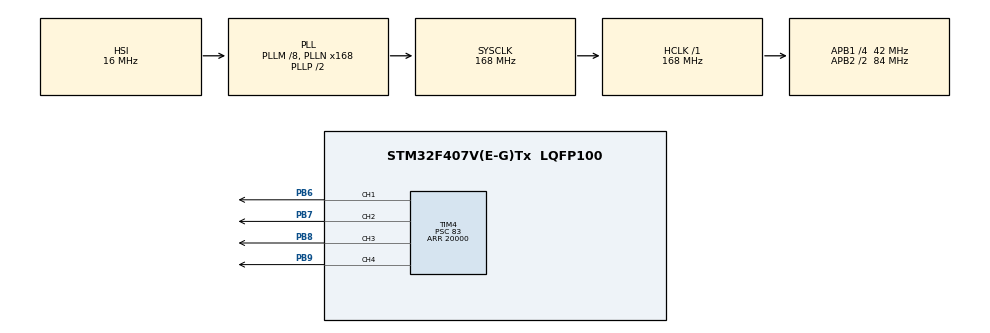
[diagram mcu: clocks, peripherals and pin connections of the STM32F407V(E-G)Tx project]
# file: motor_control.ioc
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Mcu.Family=STM32F4
Mcu.Name=STM32F407V(E-G)Tx
Mcu.Package=LQFP100
NVIC.PriorityGroup=NVIC_PRIORITYGROUP_0
PB6.Signal=S_TIM4_CH1
PB7.Signal=S_TIM4_CH2
PB8.Signal=S_TIM4_CH3
PB9.Signal=S_TIM4_CH4
ProjectManager.HeapSize=0x200
ProjectManager.StackSize=0x400
ProjectManager.TargetToolchain=STM32CubeIDE
RCC.48MHZClocksFreq_Value=48000000
RCC.AHBFreq_Value=168000000
RCC.APB1CLKDivider=RCC_HCLK_DIV4
RCC.APB1Freq_Value=42000000
RCC.APB1TimFreq_Value=84000000
RCC.APB2CLKDivider=RCC_HCLK_DIV2
RCC.APB2Freq_Value=84000000
RCC.APB2TimFreq_Value=168000000
RCC.CortexFreq_Value=168000000
RCC.HCLKFreq_Value=168000000
RCC.HSE_VALUE=8000000
RCC.HSI_VALUE=16000000
RCC.PLLM=8
RCC.PLLN=168
RCC.PLLQ=7
RCC.SYSCLKFreq_VALUE=168000000
RCC.SYSCLKSource=RCC_SYSCLKSOURCE_PLLCLK
RCC.VCOOutputFreq_Value=336000000
SH.S_TIM4_CH1.0=TIM4_CH1,PWM Generation1 CH1
SH.S_TIM4_CH2.0=TIM4_CH2,PWM Generation2 CH2
SH.S_TIM4_CH3.0=TIM4_CH3,PWM Generation3 CH3
SH.S_TIM4_CH4.0=TIM4_CH4,PWM Generation4 CH4
TIM4.Channel-PWM\ Generation1\ CH1=TIM_CHANNEL_1
TIM4.Channel-PWM\ Generation2\ CH2=TIM_CHANNEL_2
TIM4.Channel-PWM\ Generation3\ CH3=TIM_CHANNEL_3
TIM4.Channel-PWM\ Generation4\ CH4=TIM_CHANNEL_4
TIM4.Period=20000
TIM4.Prescaler=83
board=STM32F407G-DISC1

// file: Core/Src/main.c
/* USER CODE END Header */
#include "main.h"

TIM_HandleTypeDef htim4;

void SystemClock_Config(void);
static void MX_GPIO_Init(void);
static void MX_TIM4_Init(void);

int main(void)
{

  /* MCU Configuration--------------------------------------------------------*/

  /* Reset of all peripherals, Initializes the Flash interface and the Systick. */
  HAL_Init();

  /* Configure the system clock */
  SystemClock_Config();

  /* Initialize all configured peripherals */
  MX_GPIO_Init();
  MX_TIM4_Init();
  /* USER CODE BEGIN 2 */

  HAL_TIM_PWM_Start(&htim4, TIM_CHANNEL_1); // PB6
  HAL_TIM_PWM_Start(&htim4, TIM_CHANNEL_2); // PB7
  HAL_TIM_PWM_Start(&htim4, TIM_CHANNEL_3); // PB8
  HAL_TIM_PWM_Start(&htim4, TIM_CHANNEL_4); // PB9

  // ESC kalibrasyon (ilk kullanımda önerilir)
  // __HAL_TIM_SET_COMPARE(&htim4, TIM_CHANNEL_1, 2000);
  //__HAL_TIM_SET_COMPARE(&htim4, TIM_CHANNEL_2, 2000);
  //__HAL_TIM_SET_COMPARE(&htim4, TIM_CHANNEL_3, 2000);
  //__HAL_TIM_SET_COMPARE(&htim4, TIM_CHANNEL_4, 2000);
  //HAL_Delay(2000);

  __HAL_TIM_SET_COMPARE(&htim4, TIM_CHANNEL_1, 1000);
  __HAL_TIM_SET_COMPARE(&htim4, TIM_CHANNEL_2, 1000);
  __HAL_TIM_SET_COMPARE(&htim4, TIM_CHANNEL_3, 1000);
  __HAL_TIM_SET_COMPARE(&htim4, TIM_CHANNEL_4, 1000);
  HAL_Delay(2000);

  // Sabit hızda (1500 us = orta throttle)
  uint16_t throttle = 1500;
  __HAL_TIM_SET_COMPARE(&htim4, TIM_CHANNEL_1, throttle);
  __HAL_TIM_SET_COMPARE(&htim4, TIM_CHANNEL_2, throttle);
  __HAL_TIM_SET_COMPARE(&htim4, TIM_CHANNEL_3, throttle);
  __HAL_TIM_SET_COMPARE(&htim4, TIM_CHANNEL_4, throttle);

  HAL_Delay(2000);

  throttle = 1750;
  __HAL_TIM_SET_COMPARE(&htim4, TIM_CHANNEL_1, throttle);
  __HAL_TIM_SET_COMPARE(&htim4, TIM_CHANNEL_2, throttle);
  __HAL_TIM_SET_COMPARE(&htim4, TIM_CHANNEL_3, throttle);
  __HAL_TIM_SET_COMPARE(&htim4, TIM_CHANNEL_4, throttle);

  HAL_Delay(2000);

  throttle = 2000;
  __HAL_TIM_SET_COMPARE(&htim4, TIM_CHANNEL_1, throttle);
  __HAL_TIM_SET_COMPARE(&htim4, TIM_CHANNEL_2, throttle);
  __HAL_TIM_SET_COMPARE(&htim4, TIM_CHANNEL_3, throttle);
  __HAL_TIM_SET_COMPARE(&htim4, TIM_CHANNEL_4, throttle);

  /* USER CODE END 2 */

  /* Infinite loop */
  while (1)
  {

  }
}

void SystemClock_Config(void)
{
  RCC_OscInitTypeDef RCC_OscInitStruct = {0};
  RCC_ClkInitTypeDef RCC_ClkInitStruct = {0};

  /** Configure the main internal regulator output voltage
  */
  __HAL_RCC_PWR_CLK_ENABLE();
  __HAL_PWR_VOLTAGESCALING_CONFIG(PWR_REGULATOR_VOLTAGE_SCALE1);
  /** Initializes the RCC Oscillators according to the specified parameters
  * in the RCC_OscInitTypeDef structure.
  */
  RCC_OscInitStruct.OscillatorType = RCC_OSCILLATORTYPE_HSI;
  RCC_OscInitStruct.HSIState = RCC_HSI_ON;
  RCC_OscInitStruct.HSICalibrationValue = RCC_HSICALIBRATION_DEFAULT;
  RCC_OscInitStruct.PLL.PLLState = RCC_PLL_ON;
  RCC_OscInitStruct.PLL.PLLSource = RCC_PLLSOURCE_HSI;
  RCC_OscInitStruct.PLL.PLLM = 8;
  RCC_OscInitStruct.PLL.PLLN = 168;
  RCC_OscInitStruct.PLL.PLLP = RCC_PLLP_DIV2;
  RCC_OscInitStruct.PLL.PLLQ = 7;
  if (HAL_RCC_OscConfig(&RCC_OscInitStruct) != HAL_OK)
  {
    Error_Handler();
  }
  /** Initializes the CPU, AHB and APB buses clocks
  */
  RCC_ClkInitStruct.ClockType = RCC_CLOCKTYPE_HCLK|RCC_CLOCKTYPE_SYSCLK
                              |RCC_CLOCKTYPE_PCLK1|RCC_CLOCKTYPE_PCLK2;
  RCC_ClkInitStruct.SYSCLKSource = RCC_SYSCLKSOURCE_PLLCLK;
  RCC_ClkInitStruct.AHBCLKDivider = RCC_SYSCLK_DIV1;
  RCC_ClkInitStruct.APB1CLKDivider = RCC_HCLK_DIV4;
  RCC_ClkInitStruct.APB2CLKDivider = RCC_HCLK_DIV2;

  if (HAL_RCC_ClockConfig(&RCC_ClkInitStruct, FLASH_LATENCY_5) != HAL_OK)
  {
    Error_Handler();
  }
}

static void MX_TIM4_Init(void)
{

  TIM_MasterConfigTypeDef sMasterConfig = {0};
  TIM_OC_InitTypeDef sConfigOC = {0};

  htim4.Instance = TIM4;
  htim4.Init.Prescaler = 83;
  htim4.Init.CounterMode = TIM_COUNTERMODE_UP;
  htim4.Init.Period = 20000;
  htim4.Init.ClockDivision = TIM_CLOCKDIVISION_DIV1;
  htim4.Init.AutoReloadPreload = TIM_AUTORELOAD_PRELOAD_DISABLE;
  if (HAL_TIM_PWM_Init(&htim4) != HAL_OK)
  {
    Error_Handler();
  }
  sMasterConfig.MasterOutputTrigger = TIM_TRGO_RESET;
  sMasterConfig.MasterSlaveMode = TIM_MASTERSLAVEMODE_DISABLE;
  if (HAL_TIMEx_MasterConfigSynchronization(&htim4, &sMasterConfig) != HAL_OK)
  {
    Error_Handler();
  }
  sConfigOC.OCMode = TIM_OCMODE_PWM1;
  sConfigOC.Pulse = 0;
  sConfigOC.OCPolarity = TIM_OCPOLARITY_HIGH;
  sConfigOC.OCFastMode = TIM_OCFAST_DISABLE;
  if (HAL_TIM_PWM_ConfigChannel(&htim4, &sConfigOC, TIM_CHANNEL_1) != HAL_OK)
  {
    Error_Handler();
  }
  if (HAL_TIM_PWM_ConfigChannel(&htim4, &sConfigOC, TIM_CHANNEL_2) != HAL_OK)
  {
    Error_Handler();
  }
  if (HAL_TIM_PWM_ConfigChannel(&htim4, &sConfigOC, TIM_CHANNEL_3) != HAL_OK)
  {
    Error_Handler();
  }
  if (HAL_TIM_PWM_ConfigChannel(&htim4, &sConfigOC, TIM_CHANNEL_4) != HAL_OK)
  {
    Error_Handler();
  }
  HAL_TIM_MspPostInit(&htim4);

}

static void MX_GPIO_Init(void)
{

  /* GPIO Ports Clock Enable */
  __HAL_RCC_GPIOB_CLK_ENABLE();

}

void Error_Handler(void)
{
  __disable_irq();
  while (1)
  {
  }
}
